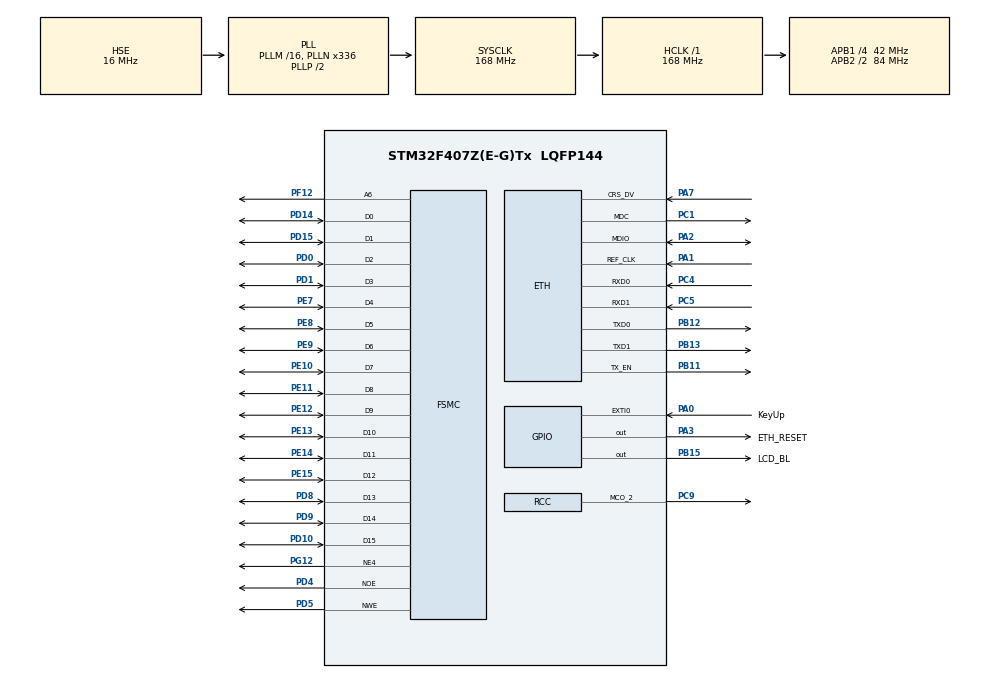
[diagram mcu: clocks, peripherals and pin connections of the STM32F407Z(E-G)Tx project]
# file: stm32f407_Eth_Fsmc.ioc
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ETH.MediaInterface=HAL_ETH_RMII_MODE
ETH.RxBuffLen=1536
FSMC.AddressSetupTime4=2
FSMC.DataSetupTime4=16
FSMC.ExtendedAddressSetupTime4=4
FSMC.ExtendedBusTurnAroundDuration4=0
FSMC.ExtendedDataSetupTime4=9
FSMC.ExtendedMode4=FSMC_EXTENDED_MODE_ENABLE
LWIP.GATEWAY_ADDRESS=192.168.000.001
LWIP.IP_ADDRESS=192.168.000.010
LWIP.LWIP_DHCP=0
LWIP.LWIP_NETIF_STATUS_CALLBACK=1
LWIP.NETMASK_ADDRESS=255.255.255.000
LWIP.Version=v2.1.2_Cube
Mcu.Family=STM32F4
Mcu.Name=STM32F407Z(E-G)Tx
Mcu.Package=LQFP144
NVIC.PriorityGroup=NVIC_PRIORITYGROUP_4
PA0-WKUP.GPIO_Label=KeyUp
PA0-WKUP.GPIO_PuPd=GPIO_PULLDOWN
PA0-WKUP.Signal=GPXTI0
PA1.Mode=RMII
PA1.Signal=ETH_REF_CLK
PA13.Mode=Serial_Wire
PA13.Signal=SYS_JTMS-SWDIO
PA14.Mode=Serial_Wire
PA14.Signal=SYS_JTCK-SWCLK
PA2.Mode=RMII
PA2.Signal=ETH_MDIO
PA3.GPIO_Label=ETH_RESET
PA3.PinState=GPIO_PIN_SET
PA3.Signal=GPIO_Output
PA7.Mode=RMII
PA7.Signal=ETH_CRS_DV
PB11.Mode=RMII
PB11.Signal=ETH_TX_EN
PB12.Mode=RMII
PB12.Signal=ETH_TXD0
PB13.Mode=RMII
PB13.Signal=ETH_TXD1
PB15.GPIO_Label=LCD_BL
PB15.Signal=GPIO_Output
PC1.Mode=RMII
PC1.Signal=ETH_MDC
PC14-OSC32_IN.Mode=LSE-External-Oscillator
PC14-OSC32_IN.Signal=RCC_OSC32_IN
PC15-OSC32_OUT.Mode=LSE-External-Oscillator
PC15-OSC32_OUT.Signal=RCC_OSC32_OUT
PC4.Mode=RMII
PC4.Signal=ETH_RXD0
PC5.Mode=RMII
PC5.Signal=ETH_RXD1
PC9.Mode=Clock-out-2
PC9.Signal=RCC_MCO_2
PD0.Signal=FSMC_D2_DA2
PD1.Signal=FSMC_D3_DA3
PD10.Signal=FSMC_D15_DA15
PD14.Signal=FSMC_D0_DA0
PD15.Signal=FSMC_D1_DA1
PD4.Signal=FSMC_NOE
PD5.Signal=FSMC_NWE
PD8.Signal=FSMC_D13_DA13
PD9.Signal=FSMC_D14_DA14
PE10.Signal=FSMC_D7_DA7
PE11.Signal=FSMC_D8_DA8
PE12.Signal=FSMC_D9_DA9
PE13.Signal=FSMC_D10_DA10
PE14.Signal=FSMC_D11_DA11
PE15.Signal=FSMC_D12_DA12
PE7.Signal=FSMC_D4_DA4
PE8.Signal=FSMC_D5_DA5
PE9.Signal=FSMC_D6_DA6
PF12.Signal=FSMC_A6
PG12.Mode=NorPsramChipSelect4_4
PG12.Signal=FSMC_NE4
PH0-OSC_IN.Mode=HSE-External-Oscillator
PH0-OSC_IN.Signal=RCC_OSC_IN
PH1-OSC_OUT.Mode=HSE-External-Oscillator
PH1-OSC_OUT.Signal=RCC_OSC_OUT
ProjectManager.HeapSize=0x200
ProjectManager.StackSize=0x400
ProjectManager.TargetToolchain=STM32CubeIDE
RCC.48MHZClocksFreq_Value=84000000
RCC.AHBFreq_Value=168000000
RCC.APB1CLKDivider=RCC_HCLK_DIV4
RCC.APB1Freq_Value=42000000
RCC.APB1TimFreq_Value=84000000
RCC.APB2CLKDivider=RCC_HCLK_DIV2
RCC.APB2Freq_Value=84000000
RCC.APB2TimFreq_Value=168000000
RCC.CortexFreq_Value=168000000
RCC.HCLKFreq_Value=168000000
RCC.HSE_VALUE=16000000
RCC.HSI_VALUE=16000000
RCC.PLLI2SN=200
RCC.PLLN=336
RCC.PLLSourceVirtual=RCC_PLLSOURCE_HSE
RCC.RCC_MCO2Source=RCC_MCO2SOURCE_PLLI2SCLK
RCC.RCC_MCODiv2=RCC_MCODIV_2
RCC.SYSCLKFreq_VALUE=168000000
RCC.SYSCLKSource=RCC_SYSCLKSOURCE_PLLCLK
RCC.VCOOutputFreq_Value=336000000
SH.FSMC_A6.0=FSMC_A6,A6_4
SH.FSMC_D0_DA0.0=FSMC_D0,16b-d4
SH.FSMC_D10_DA10.0=FSMC_D10,16b-d4
SH.FSMC_D11_DA11.0=FSMC_D11,16b-d4
SH.FSMC_D12_DA12.0=FSMC_D12,16b-d4
SH.FSMC_D13_DA13.0=FSMC_D13,16b-d4
SH.FSMC_D14_DA14.0=FSMC_D14,16b-d4
SH.FSMC_D15_DA15.0=FSMC_D15,16b-d4
SH.FSMC_D1_DA1.0=FSMC_D1,16b-d4
SH.FSMC_D2_DA2.0=FSMC_D2,16b-d4
SH.FSMC_D3_DA3.0=FSMC_D3,16b-d4
SH.FSMC_D4_DA4.0=FSMC_D4,16b-d4
SH.FSMC_D5_DA5.0=FSMC_D5,16b-d4
SH.FSMC_D6_DA6.0=FSMC_D6,16b-d4
SH.FSMC_D7_DA7.0=FSMC_D7,16b-d4
SH.FSMC_D8_DA8.0=FSMC_D8,16b-d4
SH.FSMC_D9_DA9.0=FSMC_D9,16b-d4
SH.FSMC_NOE.0=FSMC_NOE,Lcd4
SH.FSMC_NWE.0=FSMC_NWE,Lcd4
VP_LWIP_VS_Enabled.Mode=Enabled
board=custom

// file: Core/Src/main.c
/* USER CODE BEGIN Header */
/**
 ******************************************************************************
 * @file           : main.c
 * @brief          : Main program body
 ******************************************************************************
 * @attention
 *
 * Copyright (c) 2025 STMicroelectronics.
 * All rights reserved.
 *
 * This software is licensed under terms that can be found in the LICENSE file
 * in the root directory of this software component.
 * If no LICENSE file comes with this software, it is provided AS-IS.
 *
 ******************************************************************************
 */
/* USER CODE END Header */
#include "main.h"
#include "lwip.h"
#include "gpio.h"
#include "fsmc.h"
#include "lwip/tcp.h"

/* USER CODE BEGIN Includes */
extern ETH_HandleTypeDef heth;
/* USER CODE END Includes */

void SystemClock_Config(void);
void PeriphCommonClock_Config(void);

/* USER CODE BEGIN 0 */
static err_t tcp_recv_callback(void *arg, struct tcp_pcb *tpcb, struct pbuf *p,
		err_t err) {
	if (p == NULL) {
		tcp_close(tpcb);
		return ERR_OK;
	}
	// 处理接收到的数据
	// 例如：回显
	tcp_write(tpcb, p->payload, p->len, TCP_WRITE_FLAG_COPY);
	tcp_recved(tpcb, p->len);
	pbuf_free(p);
	return ERR_OK;
}

// TCP连接回调函数
static err_t tcp_accept_callback(void *arg, struct tcp_pcb *newpcb, err_t err) {
	tcp_recv(newpcb, tcp_recv_callback);
	return ERR_OK;
}

// 初始化TCP服务器
void tcp_server_init(void) {
	struct tcp_pcb *pcb = tcp_new();
	if (pcb != NULL) {
		err_t err;
		err = tcp_bind(pcb, IP_ADDR_ANY, 5000); // 监听5000端口
		if (err == ERR_OK) {
			pcb = tcp_listen(pcb);
			tcp_accept(pcb, tcp_accept_callback);
		}
	}
}

// TCP客户端发送数据
err_t tcp_client_send(struct tcp_pcb *pcb, const void *data, u16_t len) {
	err_t err = tcp_write(pcb, data, len, TCP_WRITE_FLAG_COPY);
	if (err == ERR_OK) {
		tcp_output(pcb);
	}
	return err;
}
/* USER CODE END 0 */

int main(void) {

	/* MCU Configuration--------------------------------------------------------*/

	/* Reset of all peripherals, Initializes the Flash interface and the Systick. */
	HAL_Init();

	/* Configure the system clock */
	SystemClock_Config();

	/* Configure the peripherals common clocks */
	PeriphCommonClock_Config();

	/* Initialize all configured peripherals */
	MX_GPIO_Init();
	MX_FSMC_Init();
	MX_LWIP_Init();

	/* Infinite loop */
	while (1) {

	}
}

void SystemClock_Config(void) {
	RCC_OscInitTypeDef RCC_OscInitStruct = { 0 };
	RCC_ClkInitTypeDef RCC_ClkInitStruct = { 0 };

	/** Configure the main internal regulator output voltage
	 */
	__HAL_RCC_PWR_CLK_ENABLE();
	__HAL_PWR_VOLTAGESCALING_CONFIG(PWR_REGULATOR_VOLTAGE_SCALE1);

	/** Initializes the RCC Oscillators according to the specified parameters
	 * in the RCC_OscInitTypeDef structure.
	 */
	RCC_OscInitStruct.OscillatorType = RCC_OSCILLATORTYPE_HSE;
	RCC_OscInitStruct.HSEState = RCC_HSE_ON;
	RCC_OscInitStruct.PLL.PLLState = RCC_PLL_ON;
	RCC_OscInitStruct.PLL.PLLSource = RCC_PLLSOURCE_HSE;
	RCC_OscInitStruct.PLL.PLLM = 16;
	RCC_OscInitStruct.PLL.PLLN = 336;
	RCC_OscInitStruct.PLL.PLLP = RCC_PLLP_DIV2;
	RCC_OscInitStruct.PLL.PLLQ = 4;
	if (HAL_RCC_OscConfig(&RCC_OscInitStruct) != HAL_OK) {
		Error_Handler();
	}

	/** Initializes the CPU, AHB and APB buses clocks
	 */
	RCC_ClkInitStruct.ClockType = RCC_CLOCKTYPE_HCLK | RCC_CLOCKTYPE_SYSCLK
			| RCC_CLOCKTYPE_PCLK1 | RCC_CLOCKTYPE_PCLK2;
	RCC_ClkInitStruct.SYSCLKSource = RCC_SYSCLKSOURCE_PLLCLK;
	RCC_ClkInitStruct.AHBCLKDivider = RCC_SYSCLK_DIV1;
	RCC_ClkInitStruct.APB1CLKDivider = RCC_HCLK_DIV4;
	RCC_ClkInitStruct.APB2CLKDivider = RCC_HCLK_DIV2;

	if (HAL_RCC_ClockConfig(&RCC_ClkInitStruct, FLASH_LATENCY_5) != HAL_OK) {
		Error_Handler();
	}
	HAL_RCC_MCOConfig(RCC_MCO2, RCC_MCO2SOURCE_PLLI2SCLK, RCC_MCODIV_2);
}

void PeriphCommonClock_Config(void) {
	RCC_PeriphCLKInitTypeDef PeriphClkInitStruct = { 0 };

	/** Initializes the peripherals clock
	 */
	PeriphClkInitStruct.PeriphClockSelection = RCC_PERIPHCLK_PLLI2S;
	PeriphClkInitStruct.PLLI2S.PLLI2SN = 200;
	PeriphClkInitStruct.PLLI2S.PLLI2SR = 2;
	if (HAL_RCCEx_PeriphCLKConfig(&PeriphClkInitStruct) != HAL_OK) {
		Error_Handler();
	}
}

void Error_Handler(void) {
	__disable_irq();
	while (1) {
	}
}
